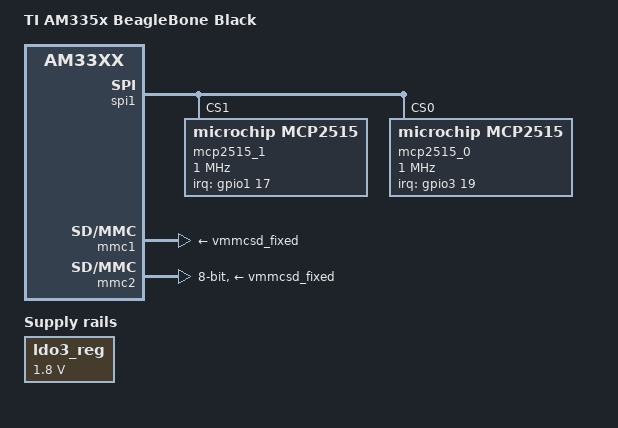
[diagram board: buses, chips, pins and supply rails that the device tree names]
/*
 * Copyright (C) 2015 Jumpnow Technologies, LLC - http://jumpnowtek.com
 *
 * This program is free software; you can redistribute it and/or modify
 * it under the terms of the GNU General Public License version 2 as
 * published by the Free Software Foundation.
 */

/*
  Support for TowerTech CAN-CAPE
*/

/dts-v1/;

#include "am33xx.dtsi"
#include "am335x-bone-common.dtsi"
#include "bbb-dcan1.dtsi"

&am33xx_pinmux {
	spi1_pins: pinmux_spi1_pins {
		pinctrl-single,pins = <
			0x19c (PIN_OUTPUT_PULLUP | MUX_MODE3)	/* P9.28, spi1_cs0 */
			0x164 (PIN_OUTPUT_PULLUP | MUX_MODE2)	/* P9.42, spi1_cs1 */
			0x194 (PIN_INPUT_PULLUP | MUX_MODE3)	/* P9.29, spi1_d0, MISO */
			0x198 (PIN_OUTPUT_PULLUP | MUX_MODE3)	/* P9.30, spi1_d1, MOSI */
			0x190 (PIN_INPUT_PULLUP | MUX_MODE3)	/* P9.31, spi1_sclk */
		>;
	};

	mcp2515_0_irq_pins: pinmux_mcp2515_0_irq_pins {
		pinctrl-single,pins = <
			0x1a4 (PIN_INPUT_PULLUP | MUX_MODE7)	/* P9.27, gpio3[19] */
		>;
	};

	mcp2515_1_irq_pins: pinmux_mcp2515_1_irq_pins {
		pinctrl-single,pins = <
			0x044 (PIN_INPUT_PULLUP | MUX_MODE7)	/* P9.23, gpio1[17] */
		>;
	};
};

/ {
	model = "TI AM335x BeagleBone Black";
	compatible = "ti,am335x-bone-black", "ti,am33xx";
};

&prcm_clocks {
	clk_mcp251x: clk_mcp251x {
		#clock-cells = <0>;
		compatible = "fixed-clock";
		clock-frequency = <16000000>;
	};
};

&spi1 {
	status = "okay";
	pinctrl-names = "default";
	pinctrl-0 = <&spi1_pins>;

	mcp2515_1: mcp2515@1 {
		compatible = "microchip,mcp2515";
		reg = <1>;	/* cs1 */
		spi-max-frequency = <1000000>;
		pinctrl-names = "default";
		pinctrl-0 = <&mcp2515_1_irq_pins>;
		interrupt-parent = <&gpio1>;
		interrupts = <17 0>;
		clocks = <&clk_mcp251x>;
	};

	mcp2515_0: mcp2515@0 {
		compatible = "microchip,mcp2515";
		reg = <0>;	/* cs0 */
		spi-max-frequency = <1000000>;
		pinctrl-names = "default";
		pinctrl-0 = <&mcp2515_0_irq_pins>;
		interrupt-parent = <&gpio3>;
		interrupts = <19 0>;
		clocks = <&clk_mcp251x>;
	};
};

&ldo3_reg {
	regulator-min-microvolt = <1800000>;
	regulator-max-microvolt = <1800000>;
	regulator-always-on;
};

&mmc1 {
	vmmc-supply = <&vmmcsd_fixed>;
};

&mmc2 {
	vmmc-supply = <&vmmcsd_fixed>;
	pinctrl-names = "default";
	pinctrl-0 = <&emmc_pins>;
	bus-width = <8>;
	status = "okay";
};

&rtc {
	system-power-controller;
};
